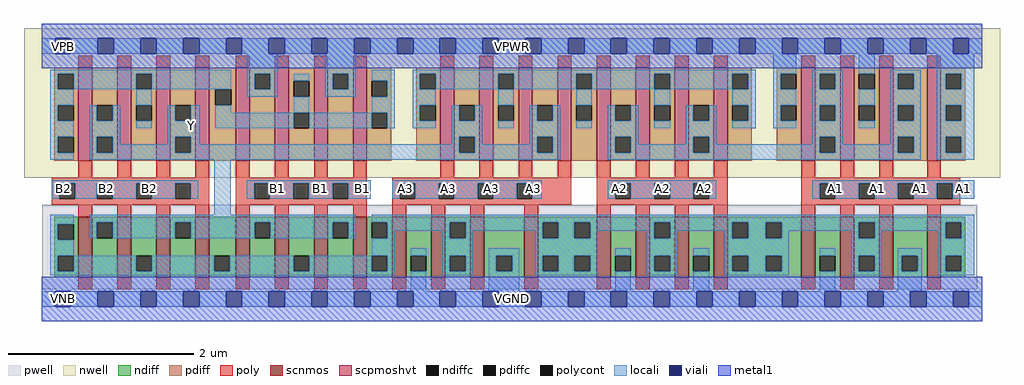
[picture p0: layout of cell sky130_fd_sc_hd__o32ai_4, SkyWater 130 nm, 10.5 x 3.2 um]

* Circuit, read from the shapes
.subckt sky130_fd_sc_hd__o32ai_4 A1 A2 A3 B1 B2 VGND VNB VPB VPWR Y
XM1 Y B2 n1 VNB sky130_fd_pr__nfet_01v8 w=0.65 l=0.15 m=4
XM2 Y B1 n1 VNB sky130_fd_pr__nfet_01v8 w=0.65 l=0.15 m=4
XM3 VGND A3 n1 VNB sky130_fd_pr__nfet_01v8 w=0.65 l=0.15 m=4
XM4 VGND A2 n1 VNB sky130_fd_pr__nfet_01v8 w=0.65 l=0.15 m=4
XM5 VGND A1 n1 VNB sky130_fd_pr__nfet_01v8 w=0.65 l=0.15 m=4
XM6 Y B2 n2 VPB sky130_fd_pr__pfet_01v8_hvt w=1 l=0.15 m=4
XM7 VPWR B1 n2 VPB sky130_fd_pr__pfet_01v8_hvt w=1 l=0.15 m=4
XM8 Y A3 n3 VPB sky130_fd_pr__pfet_01v8_hvt w=1 l=0.15 m=4
XM9 n4 A2 n3 VPB sky130_fd_pr__pfet_01v8_hvt w=1 l=0.15 m=4
XM10 n4 A1 VPWR VPB sky130_fd_pr__pfet_01v8_hvt w=1 l=0.15 m=4
.ends

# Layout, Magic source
magic
tech sky130A
magscale 1 2
<< nwell >>
rect -38 261 2062 582
<< pwell >>
rect 1 21 2013 203
rect 30 -17 64 21
<< scnmos >>
rect 79 47 109 177
rect 163 47 193 177
rect 247 47 277 177
rect 331 47 361 177
rect 418 47 448 177
rect 502 47 532 177
rect 586 47 616 177
rect 670 47 700 177
rect 754 47 784 177
rect 838 47 868 177
rect 922 47 952 177
rect 1038 47 1068 177
rect 1194 47 1224 177
rect 1278 47 1308 177
rect 1362 47 1392 177
rect 1446 47 1476 177
rect 1634 47 1664 177
rect 1718 47 1748 177
rect 1802 47 1832 177
rect 1905 47 1935 177
<< scpmoshvt >>
rect 79 297 109 497
rect 163 297 193 497
rect 247 297 277 497
rect 331 297 361 497
rect 418 297 448 497
rect 502 297 532 497
rect 586 297 616 497
rect 670 297 700 497
rect 858 297 888 497
rect 942 297 972 497
rect 1026 297 1056 497
rect 1110 297 1140 497
rect 1194 297 1224 497
rect 1278 297 1308 497
rect 1362 297 1392 497
rect 1446 297 1476 497
rect 1634 297 1664 497
rect 1718 297 1748 497
rect 1802 297 1832 497
rect 1905 297 1935 497
<< ndiff >>
rect 27 161 79 177
rect 27 127 35 161
rect 69 127 79 161
rect 27 93 79 127
rect 27 59 35 93
rect 69 59 79 93
rect 27 47 79 59
rect 109 165 163 177
rect 109 131 119 165
rect 153 131 163 165
rect 109 47 163 131
rect 193 93 247 177
rect 193 59 203 93
rect 237 59 247 93
rect 193 47 247 59
rect 277 165 331 177
rect 277 131 287 165
rect 321 131 331 165
rect 277 47 331 131
rect 361 93 418 177
rect 361 59 371 93
rect 405 59 418 93
rect 361 47 418 59
rect 448 165 502 177
rect 448 131 458 165
rect 492 131 502 165
rect 448 47 502 131
rect 532 93 586 177
rect 532 59 542 93
rect 576 59 586 93
rect 532 47 586 59
rect 616 165 670 177
rect 616 131 626 165
rect 660 131 670 165
rect 616 47 670 131
rect 700 165 754 177
rect 700 131 710 165
rect 744 131 754 165
rect 700 93 754 131
rect 700 59 710 93
rect 744 59 754 93
rect 700 47 754 59
rect 784 93 838 177
rect 784 59 794 93
rect 828 59 838 93
rect 784 47 838 59
rect 868 165 922 177
rect 868 131 878 165
rect 912 131 922 165
rect 868 93 922 131
rect 868 59 878 93
rect 912 59 922 93
rect 868 47 922 59
rect 952 93 1038 177
rect 952 59 978 93
rect 1012 59 1038 93
rect 952 47 1038 59
rect 1068 165 1194 177
rect 1068 131 1078 165
rect 1112 131 1146 165
rect 1180 131 1194 165
rect 1068 93 1194 131
rect 1068 59 1078 93
rect 1112 59 1146 93
rect 1180 59 1194 93
rect 1068 47 1194 59
rect 1224 93 1278 177
rect 1224 59 1234 93
rect 1268 59 1278 93
rect 1224 47 1278 59
rect 1308 165 1362 177
rect 1308 131 1318 165
rect 1352 131 1362 165
rect 1308 93 1362 131
rect 1308 59 1318 93
rect 1352 59 1362 93
rect 1308 47 1362 59
rect 1392 93 1446 177
rect 1392 59 1402 93
rect 1436 59 1446 93
rect 1392 47 1446 59
rect 1476 165 1634 177
rect 1476 131 1486 165
rect 1520 131 1558 165
rect 1592 131 1634 165
rect 1476 93 1634 131
rect 1476 59 1486 93
rect 1520 59 1558 93
rect 1592 59 1634 93
rect 1476 47 1634 59
rect 1664 93 1718 177
rect 1664 59 1674 93
rect 1708 59 1718 93
rect 1664 47 1718 59
rect 1748 165 1802 177
rect 1748 131 1758 165
rect 1792 131 1802 165
rect 1748 93 1802 131
rect 1748 59 1758 93
rect 1792 59 1802 93
rect 1748 47 1802 59
rect 1832 93 1905 177
rect 1832 59 1851 93
rect 1885 59 1905 93
rect 1832 47 1905 59
rect 1935 165 1987 177
rect 1935 131 1945 165
rect 1979 131 1987 165
rect 1935 93 1987 131
rect 1935 59 1945 93
rect 1979 59 1987 93
rect 1935 47 1987 59
<< pdiff >>
rect 27 485 79 497
rect 27 451 35 485
rect 69 451 79 485
rect 27 417 79 451
rect 27 383 35 417
rect 69 383 79 417
rect 27 349 79 383
rect 27 315 35 349
rect 69 315 79 349
rect 27 297 79 315
rect 109 417 163 497
rect 109 383 119 417
rect 153 383 163 417
rect 109 349 163 383
rect 109 315 119 349
rect 153 315 163 349
rect 109 297 163 315
rect 193 485 247 497
rect 193 451 203 485
rect 237 451 247 485
rect 193 417 247 451
rect 193 383 203 417
rect 237 383 247 417
rect 193 297 247 383
rect 277 417 331 497
rect 277 383 287 417
rect 321 383 331 417
rect 277 349 331 383
rect 277 315 287 349
rect 321 315 331 349
rect 277 297 331 315
rect 361 451 418 497
rect 361 417 374 451
rect 408 417 418 451
rect 361 297 418 417
rect 448 485 502 497
rect 448 451 458 485
rect 492 451 502 485
rect 448 297 502 451
rect 532 469 586 497
rect 532 435 542 469
rect 576 435 586 469
rect 532 401 586 435
rect 532 367 542 401
rect 576 367 586 401
rect 532 297 586 367
rect 616 485 670 497
rect 616 451 626 485
rect 660 451 670 485
rect 616 297 670 451
rect 700 469 752 497
rect 700 435 710 469
rect 744 435 752 469
rect 700 401 752 435
rect 700 367 710 401
rect 744 367 752 401
rect 700 297 752 367
rect 806 485 858 497
rect 806 451 814 485
rect 848 451 858 485
rect 806 417 858 451
rect 806 383 814 417
rect 848 383 858 417
rect 806 297 858 383
rect 888 417 942 497
rect 888 383 898 417
rect 932 383 942 417
rect 888 349 942 383
rect 888 315 898 349
rect 932 315 942 349
rect 888 297 942 315
rect 972 485 1026 497
rect 972 451 982 485
rect 1016 451 1026 485
rect 972 417 1026 451
rect 972 383 982 417
rect 1016 383 1026 417
rect 972 297 1026 383
rect 1056 417 1110 497
rect 1056 383 1066 417
rect 1100 383 1110 417
rect 1056 349 1110 383
rect 1056 315 1066 349
rect 1100 315 1110 349
rect 1056 297 1110 315
rect 1140 485 1194 497
rect 1140 451 1150 485
rect 1184 451 1194 485
rect 1140 417 1194 451
rect 1140 383 1150 417
rect 1184 383 1194 417
rect 1140 297 1194 383
rect 1224 417 1278 497
rect 1224 383 1234 417
rect 1268 383 1278 417
rect 1224 349 1278 383
rect 1224 315 1234 349
rect 1268 315 1278 349
rect 1224 297 1278 315
rect 1308 485 1362 497
rect 1308 451 1318 485
rect 1352 451 1362 485
rect 1308 417 1362 451
rect 1308 383 1318 417
rect 1352 383 1362 417
rect 1308 297 1362 383
rect 1392 417 1446 497
rect 1392 383 1402 417
rect 1436 383 1446 417
rect 1392 349 1446 383
rect 1392 315 1402 349
rect 1436 315 1446 349
rect 1392 297 1446 315
rect 1476 485 1528 497
rect 1476 451 1486 485
rect 1520 451 1528 485
rect 1476 417 1528 451
rect 1476 383 1486 417
rect 1520 383 1528 417
rect 1476 297 1528 383
rect 1582 485 1634 497
rect 1582 451 1590 485
rect 1624 451 1634 485
rect 1582 417 1634 451
rect 1582 383 1590 417
rect 1624 383 1634 417
rect 1582 297 1634 383
rect 1664 485 1718 497
rect 1664 451 1674 485
rect 1708 451 1718 485
rect 1664 417 1718 451
rect 1664 383 1674 417
rect 1708 383 1718 417
rect 1664 349 1718 383
rect 1664 315 1674 349
rect 1708 315 1718 349
rect 1664 297 1718 315
rect 1748 485 1802 497
rect 1748 451 1758 485
rect 1792 451 1802 485
rect 1748 417 1802 451
rect 1748 383 1758 417
rect 1792 383 1802 417
rect 1748 297 1802 383
rect 1832 485 1905 497
rect 1832 451 1842 485
rect 1876 451 1905 485
rect 1832 417 1905 451
rect 1832 383 1842 417
rect 1876 383 1905 417
rect 1832 349 1905 383
rect 1832 315 1842 349
rect 1876 315 1905 349
rect 1832 297 1905 315
rect 1935 485 1987 497
rect 1935 451 1945 485
rect 1979 451 1987 485
rect 1935 417 1987 451
rect 1935 383 1945 417
rect 1979 383 1987 417
rect 1935 349 1987 383
rect 1935 315 1945 349
rect 1979 315 1987 349
rect 1935 297 1987 315
<< ndiffc >>
rect 35 127 69 161
rect 35 59 69 93
rect 119 131 153 165
rect 203 59 237 93
rect 287 131 321 165
rect 371 59 405 93
rect 458 131 492 165
rect 542 59 576 93
rect 626 131 660 165
rect 710 131 744 165
rect 710 59 744 93
rect 794 59 828 93
rect 878 131 912 165
rect 878 59 912 93
rect 978 59 1012 93
rect 1078 131 1112 165
rect 1146 131 1180 165
rect 1078 59 1112 93
rect 1146 59 1180 93
rect 1234 59 1268 93
rect 1318 131 1352 165
rect 1318 59 1352 93
rect 1402 59 1436 93
rect 1486 131 1520 165
rect 1558 131 1592 165
rect 1486 59 1520 93
rect 1558 59 1592 93
rect 1674 59 1708 93
rect 1758 131 1792 165
rect 1758 59 1792 93
rect 1851 59 1885 93
rect 1945 131 1979 165
rect 1945 59 1979 93
<< pdiffc >>
rect 35 451 69 485
rect 35 383 69 417
rect 35 315 69 349
rect 119 383 153 417
rect 119 315 153 349
rect 203 451 237 485
rect 203 383 237 417
rect 287 383 321 417
rect 287 315 321 349
rect 374 417 408 451
rect 458 451 492 485
rect 542 435 576 469
rect 542 367 576 401
rect 626 451 660 485
rect 710 435 744 469
rect 710 367 744 401
rect 814 451 848 485
rect 814 383 848 417
rect 898 383 932 417
rect 898 315 932 349
rect 982 451 1016 485
rect 982 383 1016 417
rect 1066 383 1100 417
rect 1066 315 1100 349
rect 1150 451 1184 485
rect 1150 383 1184 417
rect 1234 383 1268 417
rect 1234 315 1268 349
rect 1318 451 1352 485
rect 1318 383 1352 417
rect 1402 383 1436 417
rect 1402 315 1436 349
rect 1486 451 1520 485
rect 1486 383 1520 417
rect 1590 451 1624 485
rect 1590 383 1624 417
rect 1674 451 1708 485
rect 1674 383 1708 417
rect 1674 315 1708 349
rect 1758 451 1792 485
rect 1758 383 1792 417
rect 1842 451 1876 485
rect 1842 383 1876 417
rect 1842 315 1876 349
rect 1945 451 1979 485
rect 1945 383 1979 417
rect 1945 315 1979 349
<< poly >>
rect 79 497 109 523
rect 163 497 193 523
rect 247 497 277 523
rect 331 497 361 523
rect 418 497 448 523
rect 502 497 532 523
rect 586 497 616 523
rect 670 497 700 523
rect 858 497 888 523
rect 942 497 972 523
rect 1026 497 1056 523
rect 1110 497 1140 523
rect 1194 497 1224 523
rect 1278 497 1308 523
rect 1362 497 1392 523
rect 1446 497 1476 523
rect 1634 497 1664 523
rect 1718 497 1748 523
rect 1802 497 1832 523
rect 1905 497 1935 523
rect 79 261 109 297
rect 163 261 193 297
rect 247 261 277 297
rect 331 261 361 297
rect 22 249 361 261
rect 22 215 38 249
rect 72 215 119 249
rect 153 215 203 249
rect 237 215 287 249
rect 321 215 361 249
rect 22 203 361 215
rect 79 177 109 203
rect 163 177 193 203
rect 247 177 277 203
rect 331 177 361 203
rect 418 261 448 297
rect 502 261 532 297
rect 586 261 616 297
rect 670 261 700 297
rect 858 261 888 297
rect 942 261 972 297
rect 1026 261 1056 297
rect 1110 261 1140 297
rect 418 249 700 261
rect 418 215 457 249
rect 491 215 541 249
rect 575 215 626 249
rect 660 215 700 249
rect 418 203 700 215
rect 418 177 448 203
rect 502 177 532 203
rect 586 177 616 203
rect 670 177 700 203
rect 754 249 1140 261
rect 754 215 770 249
rect 804 215 854 249
rect 888 215 938 249
rect 972 215 1022 249
rect 1056 215 1140 249
rect 754 203 1140 215
rect 1194 261 1224 297
rect 1278 261 1308 297
rect 1362 261 1392 297
rect 1446 261 1476 297
rect 1194 249 1476 261
rect 1194 215 1234 249
rect 1268 215 1318 249
rect 1352 215 1402 249
rect 1436 215 1476 249
rect 1194 203 1476 215
rect 754 177 784 203
rect 838 177 868 203
rect 922 177 952 203
rect 1038 177 1068 203
rect 1194 177 1224 203
rect 1278 177 1308 203
rect 1362 177 1392 203
rect 1446 177 1476 203
rect 1634 261 1664 297
rect 1718 261 1748 297
rect 1802 261 1832 297
rect 1905 261 1935 297
rect 1634 249 1976 261
rect 1634 215 1674 249
rect 1708 215 1758 249
rect 1792 215 1842 249
rect 1876 215 1926 249
rect 1960 215 1976 249
rect 1634 203 1976 215
rect 1634 177 1664 203
rect 1718 177 1748 203
rect 1802 177 1832 203
rect 1905 177 1935 203
rect 79 21 109 47
rect 163 21 193 47
rect 247 21 277 47
rect 331 21 361 47
rect 418 21 448 47
rect 502 21 532 47
rect 586 21 616 47
rect 670 21 700 47
rect 754 21 784 47
rect 838 21 868 47
rect 922 21 952 47
rect 1038 21 1068 47
rect 1194 21 1224 47
rect 1278 21 1308 47
rect 1362 21 1392 47
rect 1446 21 1476 47
rect 1634 21 1664 47
rect 1718 21 1748 47
rect 1802 21 1832 47
rect 1905 21 1935 47
<< polycont >>
rect 38 215 72 249
rect 119 215 153 249
rect 203 215 237 249
rect 287 215 321 249
rect 457 215 491 249
rect 541 215 575 249
rect 626 215 660 249
rect 770 215 804 249
rect 854 215 888 249
rect 938 215 972 249
rect 1022 215 1056 249
rect 1234 215 1268 249
rect 1318 215 1352 249
rect 1402 215 1436 249
rect 1674 215 1708 249
rect 1758 215 1792 249
rect 1842 215 1876 249
rect 1926 215 1960 249
<< locali >>
rect 0 527 29 561
rect 63 527 121 561
rect 155 527 213 561
rect 247 527 305 561
rect 339 527 397 561
rect 431 527 489 561
rect 523 527 581 561
rect 615 527 673 561
rect 707 527 765 561
rect 799 527 857 561
rect 891 527 949 561
rect 983 527 1041 561
rect 1075 527 1133 561
rect 1167 527 1225 561
rect 1259 527 1317 561
rect 1351 527 1409 561
rect 1443 527 1501 561
rect 1535 527 1593 561
rect 1627 527 1685 561
rect 1719 527 1777 561
rect 1811 527 1869 561
rect 1903 527 1961 561
rect 1995 527 2024 561
rect 18 485 408 493
rect 18 451 35 485
rect 69 451 203 485
rect 237 451 408 485
rect 18 417 69 451
rect 203 417 237 451
rect 442 485 508 527
rect 610 485 676 527
rect 442 451 458 485
rect 492 451 508 485
rect 442 435 508 451
rect 542 469 576 485
rect 610 451 626 485
rect 660 451 676 485
rect 610 435 676 451
rect 710 469 760 493
rect 744 435 760 469
rect 18 383 35 417
rect 18 349 69 383
rect 18 315 35 349
rect 18 299 69 315
rect 103 383 119 417
rect 153 383 169 417
rect 103 349 169 383
rect 203 367 237 383
rect 271 383 287 417
rect 321 383 340 417
rect 103 315 119 349
rect 153 333 169 349
rect 271 349 340 383
rect 374 401 408 417
rect 542 401 576 435
rect 710 401 760 435
rect 374 367 542 401
rect 576 367 710 401
rect 744 367 760 401
rect 798 485 1536 493
rect 798 451 814 485
rect 848 451 982 485
rect 1016 451 1150 485
rect 1184 451 1318 485
rect 1352 451 1486 485
rect 1520 451 1536 485
rect 798 417 848 451
rect 982 417 1016 451
rect 1150 417 1184 451
rect 1318 417 1352 451
rect 1486 417 1536 451
rect 798 383 814 417
rect 798 367 848 383
rect 882 383 898 417
rect 932 383 948 417
rect 271 333 287 349
rect 153 315 287 333
rect 321 333 340 349
rect 882 349 948 383
rect 982 367 1016 383
rect 1050 383 1066 417
rect 1100 383 1116 417
rect 882 333 898 349
rect 321 315 898 333
rect 932 333 948 349
rect 1050 349 1116 383
rect 1150 367 1184 383
rect 1218 383 1234 417
rect 1268 383 1284 417
rect 1050 333 1066 349
rect 932 315 1066 333
rect 1100 315 1116 349
rect 103 299 1116 315
rect 1218 349 1284 383
rect 1318 367 1352 383
rect 1386 383 1402 417
rect 1436 383 1452 417
rect 1218 315 1234 349
rect 1268 333 1284 349
rect 1386 349 1452 383
rect 1520 383 1536 417
rect 1486 367 1536 383
rect 1574 485 1624 527
rect 1574 451 1590 485
rect 1574 417 1624 451
rect 1574 383 1590 417
rect 1574 367 1624 383
rect 1658 485 1724 493
rect 1658 451 1674 485
rect 1708 451 1724 485
rect 1658 417 1724 451
rect 1658 383 1674 417
rect 1708 383 1724 417
rect 1386 333 1402 349
rect 1268 315 1402 333
rect 1436 333 1452 349
rect 1658 349 1724 383
rect 1758 485 1792 527
rect 1758 417 1792 451
rect 1758 367 1792 383
rect 1826 485 1892 493
rect 1826 451 1842 485
rect 1876 451 1892 485
rect 1826 417 1892 451
rect 1826 383 1842 417
rect 1876 383 1892 417
rect 1658 333 1674 349
rect 1436 315 1674 333
rect 1708 333 1724 349
rect 1826 349 1892 383
rect 1826 333 1842 349
rect 1708 315 1842 333
rect 1876 315 1892 349
rect 1218 299 1892 315
rect 1926 485 2007 527
rect 1926 451 1945 485
rect 1979 451 2007 485
rect 1926 417 2007 451
rect 1926 383 1945 417
rect 1979 383 2007 417
rect 1926 349 2007 383
rect 1926 315 1945 349
rect 1979 315 2007 349
rect 1926 299 2007 315
rect 22 249 337 255
rect 22 215 38 249
rect 72 215 119 249
rect 153 215 203 249
rect 237 215 287 249
rect 321 215 337 249
rect 371 181 407 299
rect 441 249 708 255
rect 441 215 457 249
rect 491 215 541 249
rect 575 215 626 249
rect 660 215 708 249
rect 754 249 1076 255
rect 754 215 770 249
rect 804 215 854 249
rect 888 215 938 249
rect 972 215 1022 249
rect 1056 215 1076 249
rect 1218 249 1452 255
rect 1218 215 1234 249
rect 1268 215 1318 249
rect 1352 215 1402 249
rect 1436 215 1452 249
rect 1658 249 2007 255
rect 1658 215 1674 249
rect 1708 215 1758 249
rect 1792 215 1842 249
rect 1876 215 1926 249
rect 1960 215 2007 249
rect 18 161 69 181
rect 18 127 35 161
rect 103 165 676 181
rect 103 131 119 165
rect 153 131 287 165
rect 321 131 458 165
rect 492 131 626 165
rect 660 131 676 165
rect 710 165 2007 181
rect 744 147 878 165
rect 744 131 760 147
rect 18 93 69 127
rect 710 93 760 131
rect 862 131 878 147
rect 912 147 1078 165
rect 912 131 928 147
rect 18 59 35 93
rect 69 59 203 93
rect 237 59 371 93
rect 405 59 542 93
rect 576 59 710 93
rect 744 59 760 93
rect 18 51 760 59
rect 794 93 828 109
rect 794 17 828 59
rect 862 93 928 131
rect 1062 131 1078 147
rect 1112 131 1146 165
rect 1180 147 1318 165
rect 1180 131 1196 147
rect 862 59 878 93
rect 912 59 928 93
rect 862 51 928 59
rect 962 93 1028 109
rect 962 59 978 93
rect 1012 59 1028 93
rect 962 17 1028 59
rect 1062 93 1196 131
rect 1302 131 1318 147
rect 1352 147 1486 165
rect 1352 131 1368 147
rect 1062 59 1078 93
rect 1112 59 1146 93
rect 1180 59 1196 93
rect 1062 51 1196 59
rect 1234 93 1268 109
rect 1234 17 1268 59
rect 1302 93 1368 131
rect 1470 131 1486 147
rect 1520 131 1558 165
rect 1592 147 1758 165
rect 1592 131 1608 147
rect 1302 59 1318 93
rect 1352 59 1368 93
rect 1302 51 1368 59
rect 1402 93 1436 109
rect 1402 17 1436 59
rect 1470 93 1608 131
rect 1742 131 1758 147
rect 1792 147 1945 165
rect 1792 131 1808 147
rect 1470 59 1486 93
rect 1520 59 1558 93
rect 1592 59 1608 93
rect 1470 51 1608 59
rect 1674 93 1708 109
rect 1674 17 1708 59
rect 1742 93 1808 131
rect 1929 131 1945 147
rect 1979 131 2007 165
rect 1742 59 1758 93
rect 1792 59 1808 93
rect 1742 51 1808 59
rect 1842 93 1894 109
rect 1842 59 1851 93
rect 1885 59 1894 93
rect 1842 17 1894 59
rect 1929 93 2007 131
rect 1929 59 1945 93
rect 1979 59 2007 93
rect 1929 51 2007 59
rect 0 -17 29 17
rect 63 -17 121 17
rect 155 -17 213 17
rect 247 -17 305 17
rect 339 -17 397 17
rect 431 -17 489 17
rect 523 -17 581 17
rect 615 -17 673 17
rect 707 -17 765 17
rect 799 -17 857 17
rect 891 -17 949 17
rect 983 -17 1041 17
rect 1075 -17 1133 17
rect 1167 -17 1225 17
rect 1259 -17 1317 17
rect 1351 -17 1409 17
rect 1443 -17 1501 17
rect 1535 -17 1593 17
rect 1627 -17 1685 17
rect 1719 -17 1777 17
rect 1811 -17 1869 17
rect 1903 -17 1961 17
rect 1995 -17 2024 17
<< viali >>
rect 29 527 63 561
rect 121 527 155 561
rect 213 527 247 561
rect 305 527 339 561
rect 397 527 431 561
rect 489 527 523 561
rect 581 527 615 561
rect 673 527 707 561
rect 765 527 799 561
rect 857 527 891 561
rect 949 527 983 561
rect 1041 527 1075 561
rect 1133 527 1167 561
rect 1225 527 1259 561
rect 1317 527 1351 561
rect 1409 527 1443 561
rect 1501 527 1535 561
rect 1593 527 1627 561
rect 1685 527 1719 561
rect 1777 527 1811 561
rect 1869 527 1903 561
rect 1961 527 1995 561
rect 29 -17 63 17
rect 121 -17 155 17
rect 213 -17 247 17
rect 305 -17 339 17
rect 397 -17 431 17
rect 489 -17 523 17
rect 581 -17 615 17
rect 673 -17 707 17
rect 765 -17 799 17
rect 857 -17 891 17
rect 949 -17 983 17
rect 1041 -17 1075 17
rect 1133 -17 1167 17
rect 1225 -17 1259 17
rect 1317 -17 1351 17
rect 1409 -17 1443 17
rect 1501 -17 1535 17
rect 1593 -17 1627 17
rect 1685 -17 1719 17
rect 1777 -17 1811 17
rect 1869 -17 1903 17
rect 1961 -17 1995 17
<< metal1 >>
rect 0 561 2024 592
rect 0 527 29 561
rect 63 527 121 561
rect 155 527 213 561
rect 247 527 305 561
rect 339 527 397 561
rect 431 527 489 561
rect 523 527 581 561
rect 615 527 673 561
rect 707 527 765 561
rect 799 527 857 561
rect 891 527 949 561
rect 983 527 1041 561
rect 1075 527 1133 561
rect 1167 527 1225 561
rect 1259 527 1317 561
rect 1351 527 1409 561
rect 1443 527 1501 561
rect 1535 527 1593 561
rect 1627 527 1685 561
rect 1719 527 1777 561
rect 1811 527 1869 561
rect 1903 527 1961 561
rect 1995 527 2024 561
rect 0 496 2024 527
rect 0 17 2024 48
rect 0 -17 29 17
rect 63 -17 121 17
rect 155 -17 213 17
rect 247 -17 305 17
rect 339 -17 397 17
rect 431 -17 489 17
rect 523 -17 581 17
rect 615 -17 673 17
rect 707 -17 765 17
rect 799 -17 857 17
rect 891 -17 949 17
rect 983 -17 1041 17
rect 1075 -17 1133 17
rect 1167 -17 1225 17
rect 1259 -17 1317 17
rect 1351 -17 1409 17
rect 1443 -17 1501 17
rect 1535 -17 1593 17
rect 1627 -17 1685 17
rect 1719 -17 1777 17
rect 1811 -17 1869 17
rect 1903 -17 1961 17
rect 1995 -17 2024 17
rect 0 -48 2024 -17
<< labels >>
flabel locali s 1690 221 1724 255 0 FreeSans 250 0 0 0 A1
port 1 nsew signal input
flabel locali s 1782 221 1816 255 0 FreeSans 250 0 0 0 A1
port 1 nsew signal input
flabel locali s 1874 221 1908 255 0 FreeSans 250 0 0 0 A1
port 1 nsew signal input
flabel locali s 1966 221 2000 255 0 FreeSans 250 0 0 0 A1
port 1 nsew signal input
flabel locali s 1410 221 1444 255 0 FreeSans 250 0 0 0 A2
port 2 nsew signal input
flabel locali s 1318 221 1352 255 0 FreeSans 250 0 0 0 A2
port 2 nsew signal input
flabel locali s 1226 221 1260 255 0 FreeSans 250 0 0 0 A2
port 2 nsew signal input
flabel locali s 1042 221 1076 255 0 FreeSans 250 0 0 0 A3
port 3 nsew signal input
flabel locali s 950 221 984 255 0 FreeSans 250 0 0 0 A3
port 3 nsew signal input
flabel locali s 858 221 892 255 0 FreeSans 250 0 0 0 A3
port 3 nsew signal input
flabel locali s 766 221 800 255 0 FreeSans 250 0 0 0 A3
port 3 nsew signal input
flabel locali s 490 221 524 255 0 FreeSans 250 0 0 0 B1
port 4 nsew signal input
flabel locali s 582 221 616 255 0 FreeSans 250 0 0 0 B1
port 4 nsew signal input
flabel locali s 674 221 708 255 0 FreeSans 250 0 0 0 B1
port 4 nsew signal input
flabel locali s 306 357 340 391 0 FreeSans 250 0 0 0 Y
port 10 nsew signal output
flabel locali s 214 221 248 255 0 FreeSans 250 0 0 0 B2
port 5 nsew signal input
flabel locali s 122 221 156 255 0 FreeSans 250 0 0 0 B2
port 5 nsew signal input
flabel locali s 30 221 64 255 0 FreeSans 250 0 0 0 B2
port 5 nsew signal input
flabel pwell s 30 -17 64 17 0 FreeSans 200 0 0 0 VNB
port 7 nsew ground bidirectional
flabel nwell s 30 527 64 561 0 FreeSans 200 0 0 0 VPB
port 8 nsew power bidirectional
flabel metal1 s 30 -17 64 17 0 FreeSans 200 0 0 0 VGND
port 6 nsew ground bidirectional abutment
flabel metal1 s 30 527 64 561 0 FreeSans 200 0 0 0 VPWR
port 9 nsew power bidirectional abutment
rlabel comment s 0 0 0 0 4 o32ai_4
rlabel metal1 s 0 -48 2024 48 1 VGND
port 6 nsew ground bidirectional abutment
rlabel metal1 s 0 496 2024 592 1 VPWR
port 9 nsew power bidirectional abutment
<< properties >>
string FIXED_BBOX 0 0 2024 544
string GDS_END 1508822
string GDS_FILE $PDKPATH/libs.ref/sky130_fd_sc_hd/gds/sky130_fd_sc_hd.gds
string GDS_START 1492844
string LEFclass CORE
string LEFsite unithd
string LEFsymmetry X Y R90
string path 0.000 0.000 10.120 0.000 
<< end >>
